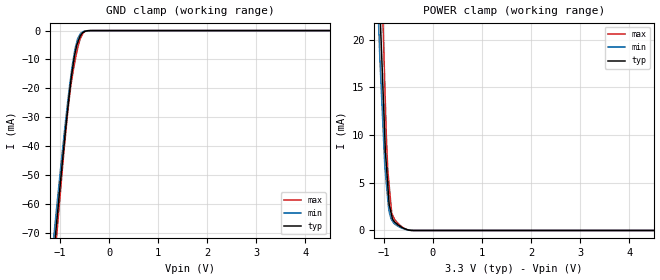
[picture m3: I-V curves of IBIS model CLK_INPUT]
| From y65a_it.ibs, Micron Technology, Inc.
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|   MODEL CLK_INPUT
[Model]   CLK_INPUT
Model_type   Input
Vinl = 800.000mV
Vinh = 2.000V
|   typ   min   max
C_comp   2.331pF   2.231pF   2.431pF
[Voltage Range]   3.300V   3.000V   3.600V
| Junction Temperature (Case temp is 35C typ, 85C min, -40C max)
[Temperature Range]   50.0   95.0   -40.0
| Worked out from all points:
|   GND clamp passes 1 mA (typ) near -0.55 V on its own axis
|   POWER clamp passes 1 mA (typ) near -0.80 V on its own axis
[GND Clamp]
|   Voltage   I(typ)   I(min)   I(max)
-3.3V     -516.5mA   -476.3mA   -568.3mA
-1.12V    -75.62mA   -69.85mA   -81.28mA
-1.08V    -68.2mA    -62.95mA   -73.07mA
-1.065V   -65.44mA   -60.42mA   -70.09mA
-920mV    -39.64mA   -36.33mA   -41.54mA
-840mV    -26.39mA   -23.95mA   -27.49mA
-780mV    -17.38mA   -15.61mA   -18.96mA
-710mV    -9.039mA   -7.785mA   -11.8mA
-640mV    -4.106mA   -2.7mA     -5.949mA
-590mV    -1.879mA   -1.194mA   -2.839mA
-520mV    -516uA     -246.3uA   -629.8uA
6.6V      0A         0A         0A
[POWER Clamp]
|   Voltage   I(typ)   I(min)   I(max)
-3.3V     453.3mA    411.2mA    511.4mA
-1.12V    29.99mA    23.48mA    40.46mA
-1.1V     26.65mA    20.69mA    36.34mA
-1.065V   21.1mA     16.21mA    30.07mA
-985mV    10.48mA    7.272mA    16.11mA
-970mV    8.493mA    6.146mA    13.49mA
-950mV    6.922mA    4.993mA    10.01mA
-920mV    4.767mA    3.262mA    6.363mA
-890mV    2.697mA    1.956mA    4.646mA
-840mV    1.564mA    1.102mA    1.828mA
-640mV    354.1uA    261.4uA    413.7uA
6.6V      0A         0A         0A
